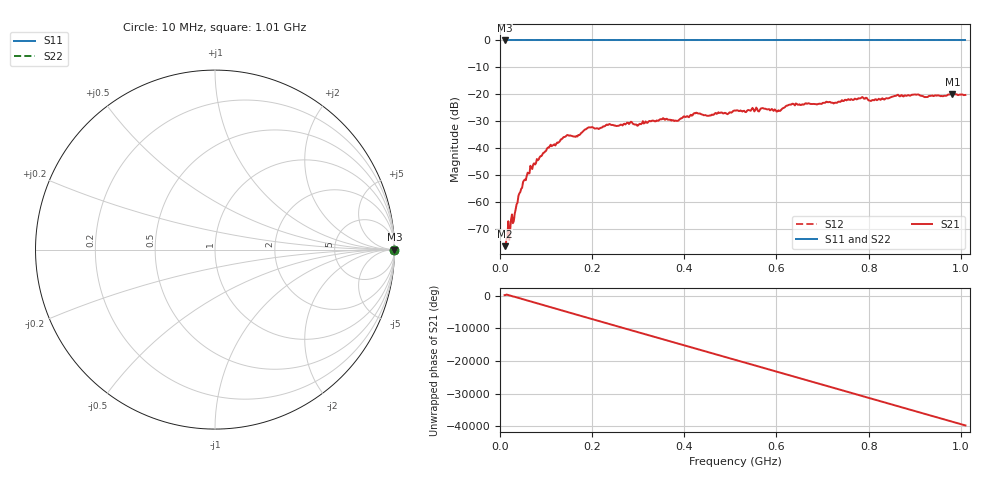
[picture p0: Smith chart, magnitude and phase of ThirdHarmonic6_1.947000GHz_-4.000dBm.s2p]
! 8/16/2025 11:26:44 PM
! C:\ANRITSUVNA\TEMP\TEMP.S2P
! CHANNEL.1
! TR.MEASUREMENT
! RAW.DATA
! RF.CORRECTION.OFF
! AVERAGING.OFF
! IF.BANDWIDTH: 5KHZ
! SWEEPTYPE:  FREQ.SWEEP(Linear)
! Reference Plane Port Info
! PORT:  PORT1  PORT2
! DISTANCE:  0  m  0  m
! TIME:  0  s  0  s
! PHASE.OFFSET:  0  deg.  0  deg.
! LOSS:  0  dB  0  dB
! REF.LOSS:  0  dB  0  dB
! REF.FREQ:  0  Hz  0  Hz
! Power Info
! POWER:  -20  dBm  -20  dBm
! EFF.POWER:  -20  dBm  -20  dBm
! SOURCE.ATTEN:  0  dB  0  dB
! TEST.ATTEN:  0  dB  0  dB
# GHZ S RI R 50.0
! FREQ.GHZ  S11RE  S11IM  S21RE  S21IM  S12RE  S12IM  S22RE  S22IM
!; PortSelection: Port_12
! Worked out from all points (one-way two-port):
!   501 points, 10 MHz to 1.01 GHz, reference 50 ohm
!   highest |S21| = -19.77 dB at 982 MHz (marker M1); lowest = -76.2 dB at 10 MHz (marker M2)
!   lowest |S11| = 0.0 dB at 10 MHz (marker M3)
!   |S11| at or under -10 dB: nowhere
!   |S22| runs from 0.0 to 0.0 dB; largest |S21 - S12| = 1.1
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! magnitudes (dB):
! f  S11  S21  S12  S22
! 10 MHz  0.0  -76.2  0.0  0.0
! 22 MHz  0.0  -69.9  0.0  0.0
! 24 MHz  0.0  -66.4  0.0  0.0
! 32 MHz  0.0  -64.1  0.0  0.0
! 46 MHz  0.0  -54.9  0.0  0.0
! 70 MHz  0.0  -47.6  0.0  0.0
! 106 MHz  0.0  -39.7  0.0  0.0
! 142 MHz  0.0  -35.6  0.0  0.0
! 164 MHz  0.0  -35.7  0.0  0.0
! 178 MHz  0.0  -34.0  0.0  0.0
! 196 MHz  0.0  -32.2  0.0  0.0
! 344 MHz  0.0  -29.8  0.0  0.0
! 382 MHz  0.0  -29.7  0.0  0.0
! 424 MHz  0.0  -27.0  0.0  0.0
! 454 MHz  0.0  -27.8  0.0  0.0
! 510 MHz  0.0  -25.9  0.0  0.0
! 604 MHz  0.0  -25.9  0.0  0.0
! 632 MHz  0.0  -23.8  0.0  0.0
! 678 MHz  0.0  -23.5  0.0  0.0
! 844 MHz  0.0  -21.4  0.0  0.0
! 982 MHz  0.0  -19.8  0.0  0.0
! 1.01 GHz  0.0  -20.2  0.0  0.0
